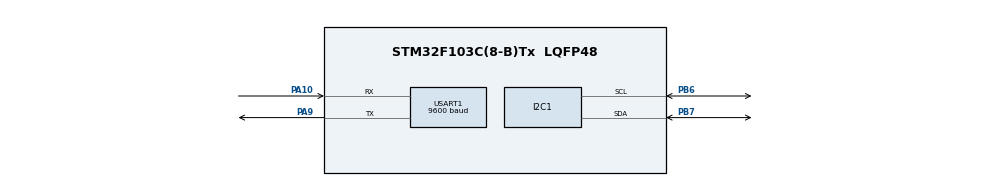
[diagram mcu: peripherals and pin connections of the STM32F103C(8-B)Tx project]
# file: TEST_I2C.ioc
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Mcu.Family=STM32F1
Mcu.Name=STM32F103C(8-B)Tx
Mcu.Package=LQFP48
NVIC.I2C1_ER_IRQn=true\:0\:0\:false\:false\:true\:true\:true\:true
NVIC.I2C1_EV_IRQn=true\:0\:0\:false\:false\:true\:true\:true\:true
NVIC.PriorityGroup=NVIC_PRIORITYGROUP_4
NVIC.USART1_IRQn=true\:0\:0\:false\:false\:true\:true\:true\:true
PA10.Mode=Asynchronous
PA10.Signal=USART1_RX
PA13.Mode=Serial_Wire
PA13.Signal=SYS_JTMS-SWDIO
PA14.Mode=Serial_Wire
PA14.Signal=SYS_JTCK-SWCLK
PA9.Mode=Asynchronous
PA9.Signal=USART1_TX
PB6.Mode=I2C
PB6.Signal=I2C1_SCL
PB7.Mode=I2C
PB7.Signal=I2C1_SDA
ProjectManager.HeapSize=0x200
ProjectManager.StackSize=0x400
ProjectManager.TargetToolchain=MDK-ARM V5.32
RCC.APB1Freq_Value=8000000
RCC.APB2Freq_Value=8000000
USART1.BaudRate=9600
USART1.VirtualMode=VM_ASYNC
board=custom

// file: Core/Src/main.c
/* USER CODE BEGIN Header */
/**
  ******************************************************************************
  * @file           : main.c
  * @brief          : Main program body
  ******************************************************************************
  * @attention
  *
  * Copyright (c) 2022 STMicroelectronics.
  * All rights reserved.
  *
  * This software is licensed under terms that can be found in the LICENSE file
  * in the root directory of this software component.
  * If no LICENSE file comes with this software, it is provided AS-IS.
  *
  ******************************************************************************
  */
/* USER CODE END Header */
#include "main.h"

/* USER CODE BEGIN Includes */
#include <stdio.h>
/* USER CODE END Includes */

I2C_HandleTypeDef hi2c1;

UART_HandleTypeDef huart1;

/* USER CODE BEGIN PV */
#define DS3231_ADDRESS (0x68<<1)
#define DS3231_REG_TIME (0x00)
#define DS3231_REG_ALARM_1 (0x07)
#define DS3231_REG_ALARM_2 (0x0B)
#define DS3231_REG_CONTROL (0x0E)
#define DS3231_REG_STATUS (0x0F)
#define DS3231_REG_TEMPERATURE (0x11)
typedef struct
{
	uint8_t sec;
	uint8_t min;
	uint8_t hour;
	uint8_t day;
	uint8_t date;
	uint8_t month;
	uint8_t year;
	uint8_t I2C_Buffer[8];
}DS3231_t;
DS3231_t DS3231;
/* USER CODE END PV */

void SystemClock_Config(void);
static void MX_GPIO_Init(void);
static void MX_I2C1_Init(void);
static void MX_USART1_UART_Init(void);
/* USER CODE BEGIN PFP */
uint8_t RTC_BCD2DEC(uint8_t c);
uint8_t RTC_DEC2BCD(uint8_t c);
void I2C_WriteBuffer(I2C_HandleTypeDef hi,uint8_t DEV_ADDR,uint8_t sizebuf);
void I2C_ReadBuffer(I2C_HandleTypeDef hi,uint8_t DEV_ADDR,uint8_t sizebuf);
void RTC_GetTime();
void RTC_SetTime(uint8_t hour,uint8_t min,uint16_t sec,uint8_t date,uint8_t month,uint8_t year)
{
	DS3231.I2C_Buffer[0]=0x00;
	DS3231.I2C_Buffer[1]=RTC_DEC2BCD(sec);
	DS3231.I2C_Buffer[2]=RTC_DEC2BCD(min);
	DS3231.I2C_Buffer[3]=RTC_DEC2BCD(hour);

	DS3231.I2C_Buffer[4]=RTC_DEC2BCD(date);
	DS3231.I2C_Buffer[5]=RTC_DEC2BCD(month);
	DS3231.I2C_Buffer[6]=RTC_DEC2BCD(year);

	I2C_WriteBuffer(hi2c1,(uint16_t)DS3231_ADDRESS,8);
	HAL_Delay(100);
}
/* USER CODE END PFP */

/* USER CODE BEGIN 0 */
uint8_t RTC_BCD2DEC(uint8_t c)
{
	return (c>>4)*10+(c&0x0f);
}
uint8_t RTC_DEC2BCD(uint8_t c)
{
	return (c/10)<<4|(c%10);
}
void I2C_WriteBuffer(I2C_HandleTypeDef hi,uint8_t DEV_ADDR,uint8_t sizebuf)
{
	while(HAL_I2C_Master_Transmit(&hi,(uint16_t) DEV_ADDR,(uint8_t *)&DS3231.I2C_Buffer,(uint16_t) sizebuf,(uint32_t) 1000))
	{
		if(HAL_I2C_GetError(&hi)!=HAL_I2C_ERROR_AF)
		{
			printf("Write Buffer error\r\n");
		}
	}
}
void I2C_ReadBuffer(I2C_HandleTypeDef hi,uint8_t DEV_ADDR,uint8_t sizebuf)
{
	while(HAL_I2C_Master_Receive(&hi,(uint16_t) DEV_ADDR,(uint8_t *)&DS3231.I2C_Buffer,(uint16_t) sizebuf,(uint32_t) 1000))
	{
		if(HAL_I2C_GetError(&hi)!=HAL_I2C_ERROR_AF)
		{
			printf("Read buffer error\r\n");
		}
	}
}
void RTC_GetTime()
{
	//Bat dau nhan qua trinh nhan du lieu tu thanh ghi 0x00
	DS3231.I2C_Buffer[0]=0x00;
	I2C_ReadBuffer(hi2c1,(uint16_t) DS3231_ADDRESS,1);
	while(HAL_I2C_GetState(&hi2c1)!=HAL_I2C_STATE_READY);
	I2C_ReadBuffer(hi2c1,(uint16_t) DS3231_ADDRESS,7);

	DS3231.day=RTC_BCD2DEC(DS3231.I2C_Buffer[3]);

	DS3231.date=RTC_BCD2DEC(DS3231.I2C_Buffer[4]);
	DS3231.month=RTC_BCD2DEC(DS3231.I2C_Buffer[5]);
	DS3231.year=RTC_BCD2DEC(DS3231.I2C_Buffer[6]);

	DS3231.sec=RTC_BCD2DEC(DS3231.I2C_Buffer[0]);
	DS3231.min=RTC_BCD2DEC(DS3231.I2C_Buffer[1]);
	DS3231.hour=RTC_BCD2DEC(DS3231.I2C_Buffer[2]);
}
/* USER CODE END 0 */

int main(void)
{

  /* MCU Configuration--------------------------------------------------------*/

  /* Reset of all peripherals, Initializes the Flash interface and the Systick. */
  HAL_Init();

  /* Configure the system clock */
  SystemClock_Config();

  /* Initialize all configured peripherals */
  MX_GPIO_Init();
  MX_I2C1_Init();
  MX_USART1_UART_Init();
  /* USER CODE BEGIN 2 */
	RTC_SetTime(15,49,14,2,12,22);
  /* USER CODE END 2 */

  /* Infinite loop */
  while (1)
  {

    /* USER CODE BEGIN 3 */
		RTC_GetTime();
		//printf("%d-%d-%d",DS3231.date,DS3231.month,DS3231.year);
		printf("%d:%d:%d\r\n",DS3231.hour,DS3231.min,DS3231.sec);
		HAL_Delay(1000);
  }
  /* USER CODE END 3 */
}

void SystemClock_Config(void)
{
  RCC_OscInitTypeDef RCC_OscInitStruct = {0};
  RCC_ClkInitTypeDef RCC_ClkInitStruct = {0};

  /** Initializes the RCC Oscillators according to the specified parameters
  * in the RCC_OscInitTypeDef structure.
  */
  RCC_OscInitStruct.OscillatorType = RCC_OSCILLATORTYPE_HSI;
  RCC_OscInitStruct.HSIState = RCC_HSI_ON;
  RCC_OscInitStruct.HSICalibrationValue = RCC_HSICALIBRATION_DEFAULT;
  RCC_OscInitStruct.PLL.PLLState = RCC_PLL_NONE;
  if (HAL_RCC_OscConfig(&RCC_OscInitStruct) != HAL_OK)
  {
    Error_Handler();
  }

  /** Initializes the CPU, AHB and APB buses clocks
  */
  RCC_ClkInitStruct.ClockType = RCC_CLOCKTYPE_HCLK|RCC_CLOCKTYPE_SYSCLK
                              |RCC_CLOCKTYPE_PCLK1|RCC_CLOCKTYPE_PCLK2;
  RCC_ClkInitStruct.SYSCLKSource = RCC_SYSCLKSOURCE_HSI;
  RCC_ClkInitStruct.AHBCLKDivider = RCC_SYSCLK_DIV1;
  RCC_ClkInitStruct.APB1CLKDivider = RCC_HCLK_DIV1;
  RCC_ClkInitStruct.APB2CLKDivider = RCC_HCLK_DIV1;

  if (HAL_RCC_ClockConfig(&RCC_ClkInitStruct, FLASH_LATENCY_0) != HAL_OK)
  {
    Error_Handler();
  }
}

static void MX_I2C1_Init(void)
{

  hi2c1.Instance = I2C1;
  hi2c1.Init.ClockSpeed = 100000;
  hi2c1.Init.DutyCycle = I2C_DUTYCYCLE_2;
  hi2c1.Init.OwnAddress1 = 0;
  hi2c1.Init.AddressingMode = I2C_ADDRESSINGMODE_7BIT;
  hi2c1.Init.DualAddressMode = I2C_DUALADDRESS_DISABLE;
  hi2c1.Init.OwnAddress2 = 0;
  hi2c1.Init.GeneralCallMode = I2C_GENERALCALL_DISABLE;
  hi2c1.Init.NoStretchMode = I2C_NOSTRETCH_DISABLE;
  if (HAL_I2C_Init(&hi2c1) != HAL_OK)
  {
    Error_Handler();
  }

}

static void MX_USART1_UART_Init(void)
{

  huart1.Instance = USART1;
  huart1.Init.BaudRate = 9600;
  huart1.Init.WordLength = UART_WORDLENGTH_8B;
  huart1.Init.StopBits = UART_STOPBITS_1;
  huart1.Init.Parity = UART_PARITY_NONE;
  huart1.Init.Mode = UART_MODE_TX_RX;
  huart1.Init.HwFlowCtl = UART_HWCONTROL_NONE;
  huart1.Init.OverSampling = UART_OVERSAMPLING_16;
  if (HAL_UART_Init(&huart1) != HAL_OK)
  {
    Error_Handler();
  }

}

static void MX_GPIO_Init(void)
{

  /* GPIO Ports Clock Enable */
  __HAL_RCC_GPIOA_CLK_ENABLE();
  __HAL_RCC_GPIOB_CLK_ENABLE();

}

/* USER CODE BEGIN 4 */
#ifdef __GNUC__
/* with GCC/RAISONANCE, small printf( option LD Linker->Libraries->Small printf
set to 'Yes' call __io_putchar() */
#define PUTCHAR_PROTOTYPE int __io_putchar(int ch)
#else
#define PUTCHAR_PROTOTYPE int fputc(int ch,FILE *f)
	#endif /*__GNUC__*/
/**
  * @brief  This function is executed in case of error occurrence.
  * @retval None
  */
PUTCHAR_PROTOTYPE
{
	//place your implemantation of fputc here
	//write a character to the USART
	HAL_UART_Transmit(&huart1,(uint8_t *)&ch,1,100);
	return ch;
}
/* USER CODE END 4 */

void Error_Handler(void)
{
  __disable_irq();
  while (1)
  {
  }
}
